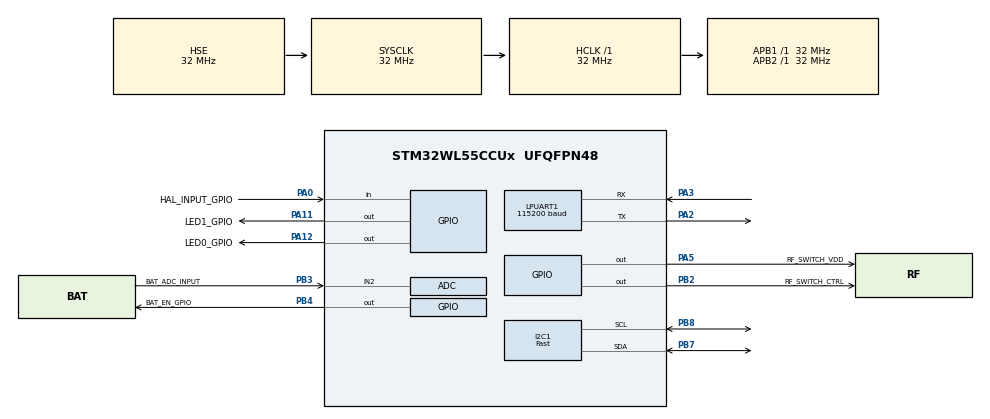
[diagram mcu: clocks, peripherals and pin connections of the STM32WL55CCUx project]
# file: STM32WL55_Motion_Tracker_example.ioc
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ADC.NbrOfConversion=1
ADC.SelectedChannel=ADC_CHANNEL_2
FREERTOS.BinarySemaphores01=radioBinarySem,Static,radioBinarySemControlBlock
FREERTOS.Tasks01=radioTask,24,128,StartRadioTask,Default,NULL,Static,defaultTaskBuffer,defaultTaskControlBlock;mainTask,8,128,StartMainTask,Default,NULL,Static,mainTaskBuffer,mainTaskControlBlock
FREERTOS.configUSE_NEWLIB_REENTRANT=1
FREERTOS.configUSE_TICKLESS_IDLE=1
I2C1.I2C_Speed_Mode=I2C_Fast
I2C1.Timing=0x00300F38
LPUART1.BaudRate=115200
Mcu.Family=STM32WL
Mcu.Name=STM32WL55CCUx
Mcu.Package=UFQFPN48
NVIC.PriorityGroup=NVIC_PRIORITYGROUP_4
NVIC.SUBGHZ_Radio_IRQn=true\:5\:0\:false\:false\:true\:true\:true\:true
NVIC.TIM17_IRQn=true\:15\:0\:false\:false\:true\:false\:false\:true
NVIC.TimeBase=TIM17_IRQn
NVIC.TimeBaseIP=TIM17
OSC_IN.Mode=HSE-External-Oscillator
OSC_IN.Signal=RCC_OSC_IN
OSC_OUT.Mode=HSE-External-Oscillator
OSC_OUT.Signal=RCC_OSC_OUT
PA0.GPIO_Label=HAL_INPUT_GPIO
PA0.Signal=GPIO_Input
PA11.GPIO_Label=LED1_GPIO
PA11.Signal=GPIO_Output
PA12.GPIO_Label=LED0_GPIO
PA12.Signal=GPIO_Output
PA2.Mode=Asynchronous
PA2.Signal=LPUART1_TX
PA3.Mode=Asynchronous
PA3.Signal=LPUART1_RX
PA5.GPIO_Label=RF_SWITCH_VDD
PA5.Signal=GPIO_Output
PB2.GPIO_Label=RF_SWITCH_CTRL
PB2.Signal=GPIO_Output
PB3.GPIO_Label=BAT_ADC_INPUT
PB3.Mode=IN2
PB3.Signal=ADC_IN2
PB4.GPIO_Label=BAT_EN_GPIO
PB4.Signal=GPIO_Output
PB7.Mode=I2C
PB7.Signal=I2C1_SDA
PB8.Mode=I2C
PB8.Signal=I2C1_SCL
PC14-OSC32_IN.Mode=LSE-External-Oscillator
PC14-OSC32_IN.Signal=RCC_OSC32_IN
PC15-OSC32_OUT.Mode=LSE-External-Oscillator
PC15-OSC32_OUT.Signal=RCC_OSC32_OUT
ProjectManager.HeapSize=0x200
ProjectManager.StackSize=0x400
ProjectManager.TargetToolchain=STM32CubeIDE
RCC.AHBFreq_Value=32000000
RCC.APB1Freq_Value=32000000
RCC.APB1TimFreq_Value=32000000
RCC.APB2Freq_Value=32000000
RCC.APB2TimFreq_Value=32000000
RCC.APB3Freq_Value=32000000
RCC.CortexFreq_Value=32000000
RCC.HCLKFreq_Value=32000000
RCC.HSE_VALUE=32000000
RCC.HSI_VALUE=16000000
RCC.LSE_VALUE=32768
RCC.SYSCLKFreq_VALUE=32000000
RCC.SYSCLKSource=RCC_SYSCLKSOURCE_HSE
RCC.VCOOutputFreq_Value=32000000
SUBGHZ_PHY.TX_RFO_CONFIG=RBI_CONF_RFO_HP
VP_ADV_TRACE_VS_ADV_TRACE.Mode=ADV_TRACE_Enabled
VP_FREERTOS_VS_CMSIS_V2.Mode=CMSIS_V2
VP_MISC_VS_MISC.Mode=MISC_Enabled
VP_SUBGHZ_PHY_VS_SubGhzPhy.Mode=SubGhzPhy_Enabled
VP_SUBGHZ_VS_SUBGHZ.Mode=SUBGHZ_Activate
VP_SYS_VS_tim17.Mode=TIM17
VP_TIMER_VS_TIMER.Mode=TIMER_Enabled
VP_TINY_LPM_VS_TINY_LPM.Mode=TINY_LPM_Enabled
board=custom

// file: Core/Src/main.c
/* USER CODE BEGIN Header */
/**
 ******************************************************************************
 * @file           : main.c
 * @brief          : Main program body
 ******************************************************************************
 * @attention
 *
 * Copyright (c) 2022 STMicroelectronics.
 * All rights reserved.
 *
 * This software is licensed under terms that can be found in the LICENSE file
 * in the root directory of this software component.
 * If no LICENSE file comes with this software, it is provided AS-IS.
 *
 ******************************************************************************
 */
/* USER CODE END Header */
#include "main.h"
#include "cmsis_os.h"
#include "app_subghz_phy.h"

/* USER CODE BEGIN Includes */

#include "radio_pin_manager.h"

/* USER CODE END Includes */

typedef StaticTask_t osStaticThreadDef_t;
typedef StaticSemaphore_t osStaticSemaphoreDef_t;
/* USER CODE BEGIN PTD */

typedef enum {

	RADIO_TX_START = 0, RADIO_RX_START, RADIO_SLEEP

} radio_state_t;

/* USER CODE END PTD */

/* USER CODE BEGIN PD */

#define LSM6DSL_ADDRESS 0xD4
#define SI7051_ADDRESS 0x80

#define RADIO_TX_TIMEOUT_COUNT 1000
#define RADIO_RX_TIMEOUT_COUNT 1000

/* USER CODE END PD */

ADC_HandleTypeDef hadc;

I2C_HandleTypeDef hi2c1;

UART_HandleTypeDef hlpuart1;

SUBGHZ_HandleTypeDef hsubghz;

/* Definitions for radioTask */
osThreadId_t radioTaskHandle;
uint32_t defaultTaskBuffer[128];
osStaticThreadDef_t defaultTaskControlBlock;
const osThreadAttr_t radioTask_attributes = { .name = "radioTask", .stack_mem =
		&defaultTaskBuffer[0], .stack_size = sizeof(defaultTaskBuffer),
		.cb_mem = &defaultTaskControlBlock, .cb_size =
				sizeof(defaultTaskControlBlock), .priority =
				(osPriority_t) osPriorityNormal, };
/* Definitions for mainTask */
osThreadId_t mainTaskHandle;
uint32_t mainTaskBuffer[128];
osStaticThreadDef_t mainTaskControlBlock;
const osThreadAttr_t mainTask_attributes = { .name = "mainTask", .stack_mem =
		&mainTaskBuffer[0], .stack_size = sizeof(mainTaskBuffer), .cb_mem =
		&mainTaskControlBlock, .cb_size = sizeof(mainTaskControlBlock),
		.priority = (osPriority_t) osPriorityLow, };
/* Definitions for radioBinarySem */
osSemaphoreId_t radioBinarySemHandle;
osStaticSemaphoreDef_t radioBinarySemControlBlock;
const osSemaphoreAttr_t radioBinarySem_attributes = { .name = "radioBinarySem",
		.cb_mem = &radioBinarySemControlBlock, .cb_size =
				sizeof(radioBinarySemControlBlock), };
/* USER CODE BEGIN PV */

static volatile uint8_t lsm6dsl_gyro_start_state = 0x00;
static int16_t ax = 0;
static int16_t ay = 0;
static int16_t az = 0;
static int16_t gx = 0;
static int16_t gy = 0;
static int16_t gz = 0;

static uint8_t si7051_conversion_state = 0x00;
static int16_t temperature = 0;

static volatile radio_state_t radio_state = RADIO_SLEEP;

static uint8_t radio_tx_buffer[64] = { 0x00 };

static int16_t radio_rx_rssi = 0;
static int8_t radio_rx_snr = 0;
static uint8_t radio_rx_buffer_size = 0;
static uint8_t radio_rx_buffer[128] = { 0x00 };

/* USER CODE END PV */

void SystemClock_Config(void);
static void MX_GPIO_Init(void);
static void MX_ADC_Init(void);
static void MX_I2C1_Init(void);
static void MX_LPUART1_UART_Init(void);
void StartRadioTask(void *argument);
void StartMainTask(void *argument);

int main(void) {

	/* MCU Configuration--------------------------------------------------------*/

	/* Reset of all peripherals, Initializes the Flash interface and the Systick. */
	HAL_Init();

	/* Configure the system clock */
	SystemClock_Config();

	/* Initialize all configured peripherals */
	MX_GPIO_Init();
	MX_SUBGHZ_Init();
	MX_ADC_Init();
	MX_I2C1_Init();
	MX_LPUART1_UART_Init();

	/* Init scheduler */
	osKernelInitialize();

	/* Create the semaphores(s) */
	/* creation of radioBinarySem */
	radioBinarySemHandle = osSemaphoreNew(1, 1, &radioBinarySem_attributes);

	/* Create the thread(s) */
	/* creation of radioTask */
	radioTaskHandle = osThreadNew(StartRadioTask, NULL, &radioTask_attributes);

	/* creation of mainTask */
	mainTaskHandle = osThreadNew(StartMainTask, NULL, &mainTask_attributes);

	/* Start scheduler */
	osKernelStart();

	/* We should never get here as control is now taken by the scheduler */
	/* Infinite loop */
	while (1) {

	}
}

void SystemClock_Config(void) {
	RCC_OscInitTypeDef RCC_OscInitStruct = { 0 };
	RCC_ClkInitTypeDef RCC_ClkInitStruct = { 0 };

	/** Configure the main internal regulator output voltage
	 */
	__HAL_PWR_VOLTAGESCALING_CONFIG(PWR_REGULATOR_VOLTAGE_SCALE1);
	/** Initializes the CPU, AHB and APB busses clocks
	 */
	RCC_OscInitStruct.OscillatorType = RCC_OSCILLATORTYPE_HSE;
	RCC_OscInitStruct.HSEState = RCC_HSE_ON;
	RCC_OscInitStruct.HSEDiv = RCC_HSE_DIV1;
	RCC_OscInitStruct.PLL.PLLState = RCC_PLL_NONE;
	if (HAL_RCC_OscConfig(&RCC_OscInitStruct) != HAL_OK) {
		Error_Handler();
	}
	/** Configure the SYSCLKSource, HCLK, PCLK1 and PCLK2 clocks dividers
	 */
	RCC_ClkInitStruct.ClockType = RCC_CLOCKTYPE_HCLK3 | RCC_CLOCKTYPE_HCLK
			| RCC_CLOCKTYPE_SYSCLK | RCC_CLOCKTYPE_PCLK1 | RCC_CLOCKTYPE_PCLK2;
	RCC_ClkInitStruct.SYSCLKSource = RCC_SYSCLKSOURCE_HSE;
	RCC_ClkInitStruct.AHBCLKDivider = RCC_SYSCLK_DIV1;
	RCC_ClkInitStruct.APB1CLKDivider = RCC_HCLK_DIV1;
	RCC_ClkInitStruct.APB2CLKDivider = RCC_HCLK_DIV1;
	RCC_ClkInitStruct.AHBCLK3Divider = RCC_SYSCLK_DIV1;

	if (HAL_RCC_ClockConfig(&RCC_ClkInitStruct, FLASH_LATENCY_1) != HAL_OK) {
		Error_Handler();
	}
}

static void MX_ADC_Init(void) {

	/** Configure the global features of the ADC (Clock, Resolution, Data Alignment and number of conversion)
	 */
	hadc.Instance = ADC;
	hadc.Init.ClockPrescaler = ADC_CLOCK_SYNC_PCLK_DIV1;
	hadc.Init.Resolution = ADC_RESOLUTION_12B;
	hadc.Init.DataAlign = ADC_DATAALIGN_RIGHT;
	hadc.Init.ScanConvMode = ADC_SCAN_DISABLE;
	hadc.Init.EOCSelection = ADC_EOC_SINGLE_CONV;
	hadc.Init.LowPowerAutoWait = DISABLE;
	hadc.Init.LowPowerAutoPowerOff = DISABLE;
	hadc.Init.ContinuousConvMode = DISABLE;
	hadc.Init.NbrOfConversion = 1;
	hadc.Init.DiscontinuousConvMode = DISABLE;
	hadc.Init.ExternalTrigConv = ADC_SOFTWARE_START;
	hadc.Init.ExternalTrigConvEdge = ADC_EXTERNALTRIGCONVEDGE_NONE;
	hadc.Init.DMAContinuousRequests = DISABLE;
	hadc.Init.Overrun = ADC_OVR_DATA_PRESERVED;
	hadc.Init.SamplingTimeCommon1 = ADC_SAMPLETIME_1CYCLE_5;
	hadc.Init.SamplingTimeCommon2 = ADC_SAMPLETIME_1CYCLE_5;
	hadc.Init.OversamplingMode = DISABLE;
	hadc.Init.TriggerFrequencyMode = ADC_TRIGGER_FREQ_HIGH;
	if (HAL_ADC_Init(&hadc) != HAL_OK) {
		Error_Handler();
	}

}

static void MX_I2C1_Init(void) {

	hi2c1.Instance = I2C1;
	hi2c1.Init.Timing = 0x00300F38;
	hi2c1.Init.OwnAddress1 = 0;
	hi2c1.Init.AddressingMode = I2C_ADDRESSINGMODE_7BIT;
	hi2c1.Init.DualAddressMode = I2C_DUALADDRESS_DISABLE;
	hi2c1.Init.OwnAddress2 = 0;
	hi2c1.Init.OwnAddress2Masks = I2C_OA2_NOMASK;
	hi2c1.Init.GeneralCallMode = I2C_GENERALCALL_DISABLE;
	hi2c1.Init.NoStretchMode = I2C_NOSTRETCH_DISABLE;
	if (HAL_I2C_Init(&hi2c1) != HAL_OK) {
		Error_Handler();
	}
	/** Configure Analogue filter
	 */
	if (HAL_I2CEx_ConfigAnalogFilter(&hi2c1, I2C_ANALOGFILTER_ENABLE)
			!= HAL_OK) {
		Error_Handler();
	}
	/** Configure Digital filter
	 */
	if (HAL_I2CEx_ConfigDigitalFilter(&hi2c1, 0) != HAL_OK) {
		Error_Handler();
	}

}

static void MX_LPUART1_UART_Init(void) {

	hlpuart1.Instance = LPUART1;
	hlpuart1.Init.BaudRate = 115200;
	hlpuart1.Init.WordLength = UART_WORDLENGTH_8B;
	hlpuart1.Init.StopBits = UART_STOPBITS_1;
	hlpuart1.Init.Parity = UART_PARITY_NONE;
	hlpuart1.Init.Mode = UART_MODE_TX_RX;
	hlpuart1.Init.HwFlowCtl = UART_HWCONTROL_NONE;
	hlpuart1.Init.OneBitSampling = UART_ONE_BIT_SAMPLE_DISABLE;
	hlpuart1.Init.ClockPrescaler = UART_PRESCALER_DIV1;
	hlpuart1.AdvancedInit.AdvFeatureInit = UART_ADVFEATURE_NO_INIT;
	hlpuart1.FifoMode = UART_FIFOMODE_DISABLE;
	if (HAL_UART_Init(&hlpuart1) != HAL_OK) {
		Error_Handler();
	}
	if (HAL_UARTEx_SetTxFifoThreshold(&hlpuart1, UART_TXFIFO_THRESHOLD_1_8)
			!= HAL_OK) {
		Error_Handler();
	}
	if (HAL_UARTEx_SetRxFifoThreshold(&hlpuart1, UART_RXFIFO_THRESHOLD_1_8)
			!= HAL_OK) {
		Error_Handler();
	}
	if (HAL_UARTEx_DisableFifoMode(&hlpuart1) != HAL_OK) {
		Error_Handler();
	}

}

void MX_SUBGHZ_Init(void) {

	hsubghz.Init.BaudratePrescaler = SUBGHZSPI_BAUDRATEPRESCALER_8;
	if (HAL_SUBGHZ_Init(&hsubghz) != HAL_OK) {
		Error_Handler();
	}

}

static void MX_GPIO_Init(void) {
	GPIO_InitTypeDef GPIO_InitStruct = { 0 };

	/* GPIO Ports Clock Enable */
	__HAL_RCC_GPIOB_CLK_ENABLE();
	__HAL_RCC_GPIOA_CLK_ENABLE();
	__HAL_RCC_GPIOC_CLK_ENABLE();

	/*Configure GPIO pin Output Level */
	HAL_GPIO_WritePin(GPIOB, BAT_EN_GPIO_Pin | RF_SWITCH_CTRL_Pin,
			GPIO_PIN_RESET);

	/*Configure GPIO pin Output Level */
	HAL_GPIO_WritePin(GPIOA, RF_SWITCH_VDD_Pin | LED1_GPIO_Pin | LED0_GPIO_Pin,
			GPIO_PIN_RESET);

	/*Configure GPIO pins : BAT_EN_GPIO_Pin RF_SWITCH_CTRL_Pin */
	GPIO_InitStruct.Pin = BAT_EN_GPIO_Pin | RF_SWITCH_CTRL_Pin;
	GPIO_InitStruct.Mode = GPIO_MODE_OUTPUT_PP;
	GPIO_InitStruct.Pull = GPIO_NOPULL;
	GPIO_InitStruct.Speed = GPIO_SPEED_FREQ_LOW;
	HAL_GPIO_Init(GPIOB, &GPIO_InitStruct);

	/*Configure GPIO pin : HAL_INPUT_GPIO_Pin */
	GPIO_InitStruct.Pin = HAL_INPUT_GPIO_Pin;
	GPIO_InitStruct.Mode = GPIO_MODE_INPUT;
	GPIO_InitStruct.Pull = GPIO_NOPULL;
	HAL_GPIO_Init(HAL_INPUT_GPIO_GPIO_Port, &GPIO_InitStruct);

	/*Configure GPIO pins : RF_SWITCH_VDD_Pin LED1_GPIO_Pin LED0_GPIO_Pin */
	GPIO_InitStruct.Pin = RF_SWITCH_VDD_Pin | LED1_GPIO_Pin | LED0_GPIO_Pin;
	GPIO_InitStruct.Mode = GPIO_MODE_OUTPUT_PP;
	GPIO_InitStruct.Pull = GPIO_NOPULL;
	GPIO_InitStruct.Speed = GPIO_SPEED_FREQ_LOW;
	HAL_GPIO_Init(GPIOA, &GPIO_InitStruct);

}

/* USER CODE BEGIN 4 */

static void sensor_error() {

	for (uint8_t i = 0; i < 4; i++) {

		HAL_GPIO_TogglePin(LED0_GPIO_GPIO_Port, LED0_GPIO_Pin);
		HAL_GPIO_TogglePin(LED1_GPIO_GPIO_Port, LED1_GPIO_Pin);

		osDelay(1000);

	}

	HAL_GPIO_WritePin(LED0_GPIO_GPIO_Port, LED0_GPIO_Pin, GPIO_PIN_RESET);
	HAL_GPIO_WritePin(LED1_GPIO_GPIO_Port, LED1_GPIO_Pin, GPIO_PIN_RESET);

}

static uint8_t i2c_bus_scan() {

	uint8_t count = 0;
	HAL_StatusTypeDef result;

	for (uint8_t i = 1; i < 128; i++) {

		result = HAL_I2C_IsDeviceReady(&hi2c1, (uint16_t) (i << 1), 2, 2);

		if (result == HAL_OK) {

			count++;

		}

	}

	return count;

}

static uint8_t init_lsm6dslm() {

	uint8_t i2c_tx_buffer[2];

	i2c_tx_buffer[0] = 0x01;

	HAL_StatusTypeDef i2c_state = HAL_I2C_Master_Transmit(&hi2c1,
	LSM6DSL_ADDRESS, i2c_tx_buffer, 1, 100);

	if (i2c_state != HAL_OK) {

		return 0x00;

	}

//SW Reset
	i2c_tx_buffer[0] = 0x12;
	i2c_tx_buffer[1] = 0x01;

	i2c_state = HAL_I2C_Master_Transmit(&hi2c1, LSM6DSL_ADDRESS, i2c_tx_buffer,
			2, 100);

	if (i2c_state != HAL_OK) {

		return 0x00;

	}

	//Sleep 500ms
	osDelay(500);

	//CTRLS3_C BDU Enable & IF_INS Enable Setting
	i2c_tx_buffer[0] = 0x12;
	i2c_tx_buffer[1] = 0x44;

	i2c_state = HAL_I2C_Master_Transmit(&hi2c1, LSM6DSL_ADDRESS, i2c_tx_buffer,
			2, 100);

	if (i2c_state != HAL_OK) {

		return 0x00;

	}

	//FIFO_CTRL5 FIFO Disable Setting
	i2c_tx_buffer[0] = 0x0A;
	i2c_tx_buffer[1] = 0x00;

	i2c_state = HAL_I2C_Master_Transmit(&hi2c1, LSM6DSL_ADDRESS, i2c_tx_buffer,
			2, 100);

	if (i2c_state != HAL_OK) {

		return 0x00;

	}

	//CTRL_6 Disable XL_HM_MODE Setting
	i2c_tx_buffer[0] = 0x15;
	i2c_tx_buffer[1] = 0b00010000;

	i2c_state = HAL_I2C_Master_Transmit(&hi2c1, LSM6DSL_ADDRESS, i2c_tx_buffer,
			2, 100);

	if (i2c_state != HAL_OK) {

		return 0x00;

	}

	//CTRL8_XL
	i2c_tx_buffer[0] = 0x17;
	i2c_tx_buffer[1] = 0x00;

	i2c_state = HAL_I2C_Master_Transmit(&hi2c1, LSM6DSL_ADDRESS, i2c_tx_buffer,
			2, 100);

	if (i2c_state != HAL_OK) {

		return 0x00;

	}

	//CTRL4_C
	i2c_tx_buffer[0] = 0x13;
	i2c_tx_buffer[1] = 0x00;

	i2c_state = HAL_I2C_Master_Transmit(&hi2c1, LSM6DSL_ADDRESS, i2c_tx_buffer,
			2, 100);

	if (i2c_state != HAL_OK) {

		return 0x00;

	}

	//CTRL1_XL Accel ODR Setting 12.5Hz & 2G
	i2c_tx_buffer[0] = 0x10;
	i2c_tx_buffer[1] = 0b00010000;

	i2c_state = HAL_I2C_Master_Transmit(&hi2c1, LSM6DSL_ADDRESS, i2c_tx_buffer,
			2, 100);

	if (i2c_state != HAL_OK) {

		return 0x00;

	}

	//CTRL7_G Gyro HM_MODE Disable Setting
	i2c_tx_buffer[0] = 0x16;
	i2c_tx_buffer[1] = 0b10000000;

	i2c_state = HAL_I2C_Master_Transmit(&hi2c1, LSM6DSL_ADDRESS, i2c_tx_buffer,
			2, 100);

	if (i2c_state != HAL_OK) {

		return 0x00;

	}
	//CTRL2_G Gyro ODR Setting 12.5Hz * 250dps
	i2c_tx_buffer[0] = 0x11;
	i2c_tx_buffer[1] = 0x00; // 0x10

	i2c_state = HAL_I2C_Master_Transmit(&hi2c1, LSM6DSL_ADDRESS, i2c_tx_buffer,
			2, 100);

	if (i2c_state != HAL_OK) {

		return 0x00;

	}

	//Sensor Init Wait Time
	osDelay(200);

	return 0x01;

}

static uint8_t get_lsm6dslm(int16_t *ax, int16_t *ay, int16_t *az, int16_t *gx,
		int16_t *gy, int16_t *gz) {

	uint8_t i2c_tx_buffer = 0x00;
	uint8_t i2c_rx_buffer[12] = { 0x00 };

	if (lsm6dsl_gyro_start_state) {

		i2c_tx_buffer = 0x22;

	} else {

		i2c_tx_buffer = 0x28;

	}

	HAL_StatusTypeDef i2c_state = HAL_I2C_Master_Transmit(&hi2c1,
	LSM6DSL_ADDRESS, &i2c_tx_buffer, 1, 100);

	if (i2c_state != HAL_OK) {

		return 0x00;

	}

	if (lsm6dsl_gyro_start_state) {

		i2c_state = HAL_I2C_Master_Receive(&hi2c1, LSM6DSL_ADDRESS,
				i2c_rx_buffer, 12, 100);

		int16_t value = i2c_rx_buffer[0] | (i2c_rx_buffer[1] << 8);
		*gx = value;

		value = i2c_rx_buffer[2] | (i2c_rx_buffer[3] << 8);
		*gy = value;

		value = i2c_rx_buffer[4] | (i2c_rx_buffer[5] << 8);
		*gz = value;

		value = i2c_rx_buffer[6] | (i2c_rx_buffer[7] << 8);
		*ax = value;

		value = i2c_rx_buffer[8] | (i2c_rx_buffer[9] << 8);
		*ay = value;

		value = i2c_rx_buffer[10] | (i2c_rx_buffer[11] << 8);
		*az = value;

	} else {

		i2c_state = HAL_I2C_Master_Receive(&hi2c1, LSM6DSL_ADDRESS,
				i2c_rx_buffer, 6, 100);

		int16_t value = i2c_rx_buffer[0] | (i2c_rx_buffer[1] << 8);
		*ax = value;

		value = i2c_rx_buffer[2] | (i2c_rx_buffer[3] << 8);
		*ay = value;

		value = i2c_rx_buffer[4] | (i2c_rx_buffer[5] << 8);
		*az = value;

	}

	if (i2c_state != HAL_OK) {

		return 0x00;

	}

	return 0x01;

}

static uint8_t si7051_init() {

	uint8_t i2c_tx_buffer[2];

	i2c_tx_buffer[0] = 0xFE;

	HAL_StatusTypeDef i2c_state = HAL_I2C_Master_Transmit(&hi2c1,
	SI7051_ADDRESS, i2c_tx_buffer, 1, 100);

	if (i2c_state != HAL_OK) {

		return 0x00;

	}

	//Sensor Init Wait Time
	osDelay(200);

	return 0x01;

}

static uint8_t set_conversion_si7051() {

	uint8_t i2c_tx_buffer = 0x00;

	i2c_tx_buffer = 0xF3;

	HAL_StatusTypeDef i2c_state = HAL_I2C_Master_Transmit(&hi2c1,
	SI7051_ADDRESS, &i2c_tx_buffer, 1, 100);

	if (i2c_state != HAL_OK) {

		return 0x00;

	}

	return 0x01;

}

static uint8_t get_si7051(int16_t *temperature) {

	uint8_t i2c_rx_buffer[2] = { 0x00 };

	HAL_StatusTypeDef i2c_state = HAL_I2C_Master_Receive(&hi2c1, SI7051_ADDRESS,
			i2c_rx_buffer, 2, 100);

	if (i2c_state != HAL_OK) {

		return 0x00;

	}

	uint16_t value = (i2c_rx_buffer[0] << 8) | i2c_rx_buffer[1];

	float temperature_si7051 = ((((float) value * 175.72) / 65536) - 46.85);
	*temperature = (int16_t) (temperature_si7051 * 10);

	return 0x01;

}

/* USER CODE END 4 */

void StartRadioTask(void *argument) {
	/* init code for SubGHz_Phy */
	MX_SubGHz_Phy_Init();
	/* USER CODE BEGIN 5 */

	radio_state = RADIO_SLEEP;

	MX_SubGhz_Phy_Radio_Sleep();

	/* Infinite loop */
	for (;;) {

		osSemaphoreAcquire(radioBinarySemHandle, osWaitForever);

		radio_state = RADIO_TX_START;
		MX_SubGhz_Phy_SendPacket(radio_tx_buffer, sizeof(radio_tx_buffer));

		osSemaphoreAcquire(radioBinarySemHandle, RADIO_TX_TIMEOUT_COUNT);

		if (MX_SubGhz_Phy_Get_SendPacket_State() == 0x01) {

			radio_state = RADIO_RX_START;
			MX_SubGhz_Phy_RecvicePacket();

			osSemaphoreAcquire(radioBinarySemHandle, RADIO_RX_TIMEOUT_COUNT);

			if (MX_SubGhz_Phy_Get_RecvicePacket_State() == 0x01) {

				MX_SubGhz_Phy_Get_RecvicePacket(&radio_rx_rssi, &radio_rx_snr,
						radio_rx_buffer, &radio_rx_buffer_size);

			}

		}

		radio_state = RADIO_SLEEP;

		MX_SubGhz_Phy_Radio_Sleep();

	}
	/* USER CODE END 5 */
}

void StartMainTask(void *argument) {
	/* USER CODE BEGIN StartMainTask */
	/* Infinite loop */
	uint32_t timer_count = 0;

	HAL_GPIO_WritePin(RF_SWITCH_VDD_GPIO_Port, RF_SWITCH_VDD_Pin,
			GPIO_PIN_RESET);
	set_radio_pin_manager_rf_switch_vdd_pin(RF_SWITCH_VDD_GPIO_Port,
	RF_SWITCH_VDD_Pin);

	HAL_GPIO_WritePin(RF_SWITCH_CTRL_GPIO_Port, RF_SWITCH_CTRL_Pin,
			GPIO_PIN_RESET);
	set_radio_pin_manager_rf_switch_pin(RF_SWITCH_CTRL_GPIO_Port,
	RF_SWITCH_CTRL_Pin);

	HAL_GPIO_WritePin(LED0_GPIO_GPIO_Port, LED0_GPIO_Pin, GPIO_PIN_RESET);
	HAL_GPIO_WritePin(LED1_GPIO_GPIO_Port, LED1_GPIO_Pin, GPIO_PIN_RESET);

	HAL_GPIO_WritePin(BAT_EN_GPIO_GPIO_Port, BAT_EN_GPIO_Pin, GPIO_PIN_RESET);

	osDelay(100);

	i2c_bus_scan();

	if (!init_lsm6dslm()) {

		sensor_error();

	}

	if (!si7051_init()) {

		sensor_error();

	}

	HAL_GPIO_WritePin(LED0_GPIO_GPIO_Port, LED0_GPIO_Pin, GPIO_PIN_SET);
	HAL_GPIO_WritePin(LED1_GPIO_GPIO_Port, LED1_GPIO_Pin, GPIO_PIN_SET);

	/* Infinite loop */
	for (;;) {

		get_lsm6dslm(&ax, &ay, &az, &gx, &gy, &gz);

		timer_count++;

		//10 minute
		if (timer_count >= 6000) {

			if (si7051_conversion_state == 0x00) {

				set_conversion_si7051();
				si7051_conversion_state = 0x01;

			} else if (si7051_conversion_state == 0x01) {

				get_si7051(&temperature);
				si7051_conversion_state = 0x00;

				timer_count = 0;

				osSemaphoreRelease(radioBinarySemHandle);

			}

		}

		osDelay(100);

	}
	/* USER CODE END StartMainTask */
}

void HAL_TIM_PeriodElapsedCallback(TIM_HandleTypeDef *htim) {
	if (htim->Instance == TIM17) {
		HAL_IncTick();
	}
}

void Error_Handler(void) {
	__disable_irq();
	while (1) {
	}
}
